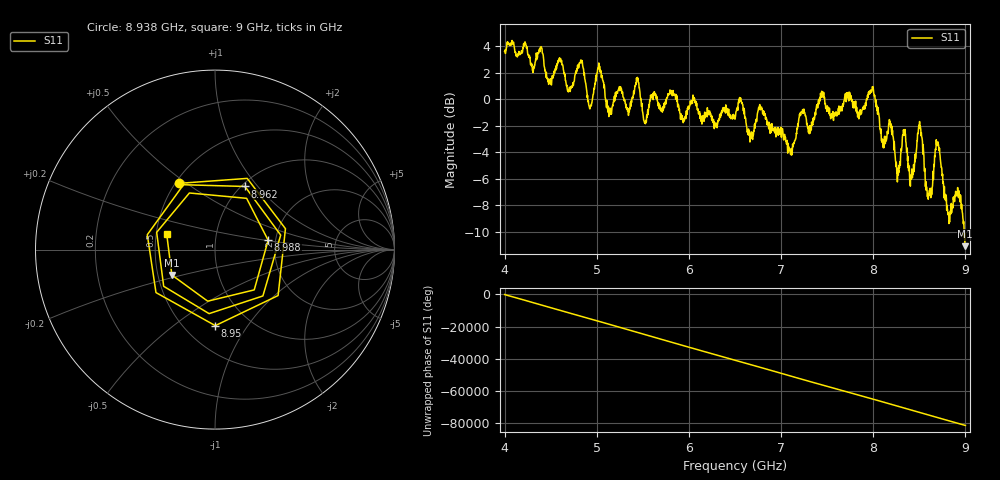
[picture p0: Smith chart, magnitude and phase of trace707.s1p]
! Created with skrf 1.8.0 (http://scikit-rf.org).
# Hz S RI R 50.0
!freq ReS11 ImS11
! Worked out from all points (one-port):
!   1601 points, 4 GHz to 9 GHz, reference 50 ohm
!   lowest |S11| = -11.1 dB at 8.997 GHz (marker M1), VSWR 1.77, Z = 29.6 - j9.1 ohm
!   |S11| at or under -10 dB: 8.986162 GHz to end of sweep
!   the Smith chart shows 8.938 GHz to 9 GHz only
!   S11 on the Smith chart (normalised r, x): 8.938 GHz: 0.52, +0.47; 8.95 GHz: 0.70, -0.72; 8.962 GHz: 1.04, +0.86; 8.988 GHz: 1.83, +0.21; 9 GHz: 0.57, +0.10
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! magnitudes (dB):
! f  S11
! 4 GHz  3.6
! 4.625 GHz  2.6
! 4.703 GHz  0.9
! 4.834 GHz  2.8
! 4.928 GHz  -0.6
! 5.022 GHz  2.7
! 5.138 GHz  -0.8
! 5.25 GHz  0.7
! 5.875 GHz  -0.2
! 6.5 GHz  -1.5
! 7.125 GHz  -3.4
! 7.225 GHz  -0.9
! 7.75 GHz  0.4
! 7.991 GHz  1.0
! 8.262 GHz  -6.2
! 8.331 GHz  -2.5
! 8.375 GHz  -4.3
! 8.422 GHz  -5.6
! 8.506 GHz  -2.2
! 8.6 GHz  -7.2
! 8.697 GHz  -3.5
! 8.812 GHz  -8.7
! 8.938 GHz  -7.5
! 8.95 GHz  -7.5
! 8.962 GHz  -8.2
! 8.988 GHz  -10.4
! 8.997 GHz  -11.1
! 9 GHz  -11.0
